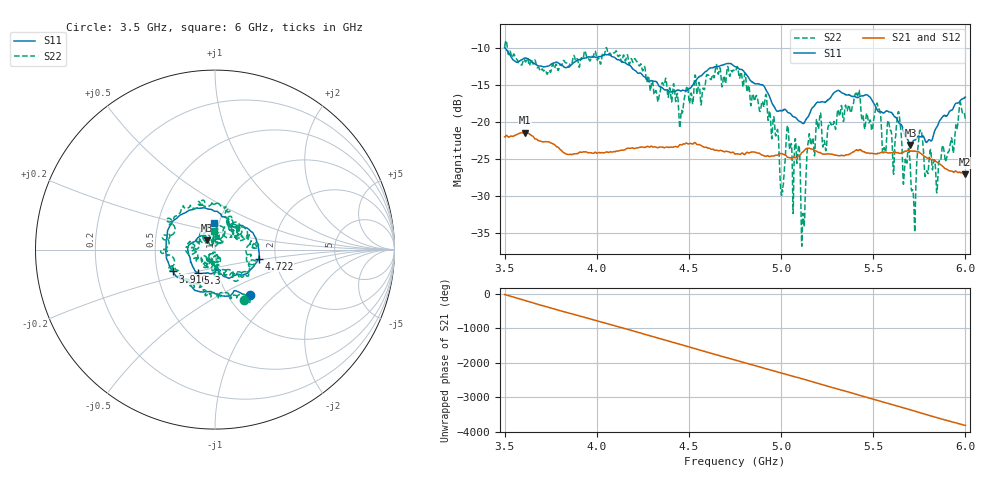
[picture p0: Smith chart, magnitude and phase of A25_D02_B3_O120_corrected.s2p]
! Created with skrf 1.9.0 (http://scikit-rf.org).
# Hz S RI R 50.0
!freq ReS11 ImS11 ReS21 ImS21 ReS12 ImS12 ReS22 ImS22
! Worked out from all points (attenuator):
!   1601 points, 3.5 GHz to 6 GHz, reference 50 ohm
!   highest |S21| = -21.42 dB at 3.609 GHz (marker M1); lowest = -27.0 dB at 5.998 GHz (marker M2)
!   lowest |S11| = -23.1 dB at 5.702 GHz (marker M3), VSWR 1.15, Z = 45.3 + j4.73 ohm
!   |S11| at or under -10 dB: 3.502 GHz to end of sweep
!   |S22| runs from -36.7 to -9.0 dB; largest |S21 - S12| = 0.00089
!   S11 on the Smith chart (normalised r, x): 3.5 GHz: 1.26, -0.71; 3.916 GHz: 0.60, -0.16; 4.722 GHz: 1.63, -0.17; 5.3 GHz: 0.80, -0.21; 6 GHz: 0.94, +0.28
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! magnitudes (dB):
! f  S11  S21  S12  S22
! 3.5 GHz  -9.9  -22.0  -22.0  -9.8
! 3.609 GHz  -11.4  -21.4  -21.4  -11.7
! 3.916 GHz  -11.5  -24.1  -24.1  -11.4
! 3.917 GHz  -11.5  -24.1  -24.1  -11.3
! 4.334 GHz  -15.0  -23.4  -23.4  -17.1
! 4.722 GHz  -12.1  -24.1  -24.1  -13.8
! 4.75 GHz  -12.5  -24.3  -24.2  -13.1
! 4.925 GHz  -16.0  -24.5  -24.5  -18.2
! 5.005 GHz  -18.4  -24.3  -24.3  -29.4
! 5.036 GHz  -18.7  -24.8  -24.7  -20.4
! 5.088 GHz  -19.6  -24.7  -24.7  -25.5
! 5.119 GHz  -20.2  -24.0  -24.0  -32.3
! 5.167 GHz  -18.2  -23.6  -23.6  -22.6
! 5.3 GHz  -15.8  -24.5  -24.5  -20.2
! 5.414 GHz  -16.7  -23.8  -23.8  -16.3
! 5.584 GHz  -18.6  -24.2  -24.1  -19.9
! 5.702 GHz  -23.1  -23.9  -23.9  -26.4
! 5.719 GHz  -22.5  -23.9  -23.9  -30.3
! 5.755 GHz  -22.0  -24.2  -24.1  -21.1
! 5.85 GHz  -20.5  -25.5  -25.4  -27.6
! 5.998 GHz  -16.7  -27.0  -27.0  -19.4
! 6 GHz  -16.6  -27.0  -27.0  -19.6
